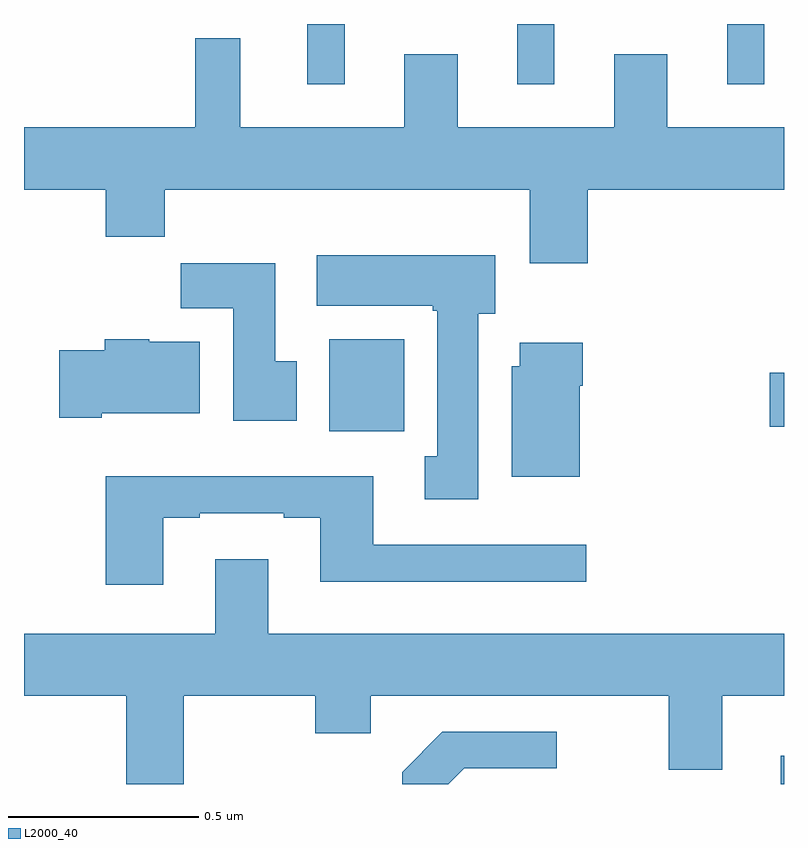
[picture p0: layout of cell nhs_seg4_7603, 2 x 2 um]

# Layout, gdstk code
import gdstk
lib = gdstk.Library(unit=1e-6, precision=1e-09)
def R(c, l, rs):  # rectangles x0, y0, x1, y1
    for r in rs: c.add(gdstk.rectangle(r[:2], r[2:], *l))
def A(c, l, x, y, w, h, nx, ny, dx, dy):  # array of equal rectangles
    R(c, l, [(x+i*dx, y+j*dy, x+i*dx+w, y+j*dy+h) for i in range(nx) for j in range(ny)])
def P(c, l, *ps):  # polygons
    for p in ps: c.add(gdstk.Polygon(p, *l))
L2000_40 = (2000, 40)

nhs_seg4_7603 = lib.new_cell('nhs_seg4_7603')
A(nhs_seg4_7603, L2000_40, 204.746, 819.741, 0.098, 0.159, 3, 1, 0.552, 0)
R(nhs_seg4_7603, L2000_40, [(205.991,817.9,206,817.975), (204.803,818.828,205,819.07), (205.962,818.84,206,818.982)])
P(nhs_seg4_7603, L2000_40, [(205.001,819.821),(205.001,819.628),(204.569,819.628),(204.569,819.862),(204.451,819.862),(204.451,819.628),(204,819.628),(204,819.464),(204.215,819.464),(204.215,819.34),(204.371,819.34),(204.371,819.464),(205.331,819.464),(205.331,819.27),(205.484,819.27),(205.484,819.464),(206,819.464),(206,819.628),(205.693,819.628),(205.693,819.821),(205.553,819.821),(205.553,819.628),(205.141,819.628),(205.141,819.821)],
  [(205.195,819.138),(205.24,819.138),(205.24,819.292),(204.771,819.292),(204.771,819.158),(205.075,819.158),(205.075,819.145),(205.088,819.145),(205.088,818.762),(205.055,818.762),(205.055,818.649),(205.195,818.649)],
  [(204.718,819.012),(204.661,819.012),(204.661,819.271),(204.412,819.271),(204.412,819.152),(204.551,819.152),(204.551,818.856),(204.718,818.856)],
  [(204.205,818.876),(204.463,818.876),(204.463,819.064),(204.33,819.064),(204.33,819.07),(204.212,819.07),(204.212,819.042),(204.093,819.042),(204.093,818.864),(204.205,818.864)],
  [(205.462,818.948),(205.47,818.948),(205.47,819.061),(205.304,819.061),(205.304,819),(205.283,819),(205.283,818.708),(205.462,818.708)],
  [(204.367,818.601),(204.463,818.601),(204.463,818.613),(204.683,818.613),(204.683,818.601),(204.779,818.601),(204.779,818.432),(205.48,818.432),(205.48,818.529),(204.919,818.529),(204.919,818.71),(204.215,818.71),(204.215,818.424),(204.367,818.424)],
  [(204.421,818.132),(204.766,818.132),(204.766,818.033),(204.913,818.033),(204.913,818.132),(205.697,818.132),(205.697,817.938),(205.837,817.938),(205.837,818.132),(206,818.132),(206,818.296),(204.643,818.296),(204.643,818.491),(204.503,818.491),(204.503,818.296),(204,818.296),(204,818.132),(204.269,818.132),(204.269,817.9),(204.421,817.9)],
  [(205.158,817.941),(205.402,817.941),(205.402,818.037),(205.101,818.037),(204.996,817.931),(204.996,817.9),(205.117,817.9)])

lib.write_gds('nhs_seg4_7603.gds')
